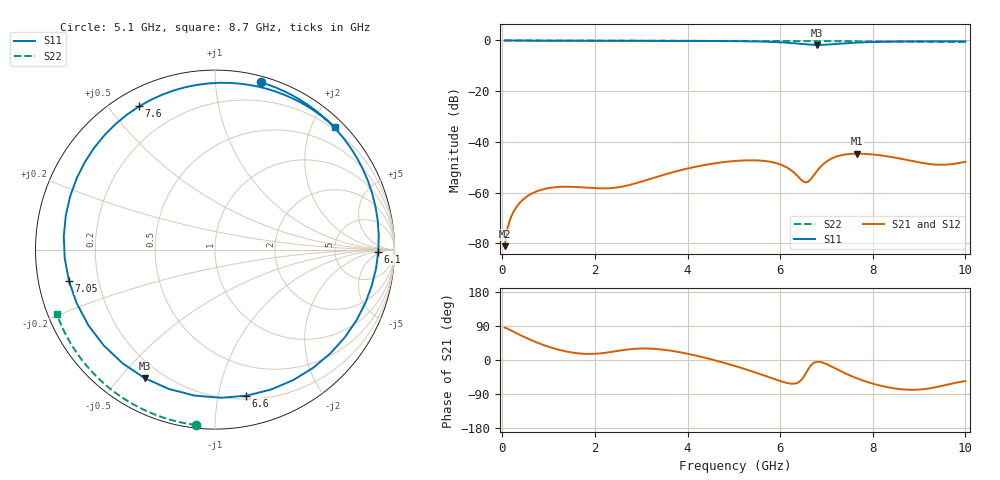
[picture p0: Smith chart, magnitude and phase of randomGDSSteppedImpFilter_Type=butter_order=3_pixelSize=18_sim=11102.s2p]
! freq	dB(S11)	phase(S11)	dB(S12)	phase(S12)
!  dB(S21)	phase(S21)	dB(S22)	phase(S22)
!S-par simulation data
#  GHz  S  DB  R 50
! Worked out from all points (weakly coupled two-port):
!   200 points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, 50 MHz to 10 GHz, reference 50 ohm
!   highest |S21| = -44.63 dB at 7.65 GHz (marker M1); lowest = -81.1 dB at 50 MHz (marker M2)
!   lowest |S11| = -1.8 dB at 6.8 GHz (marker M3), VSWR 9.89, Z = 6.81 - j29.2 ohm
!   |S11| at or under -10 dB: nowhere
!   |S22| runs from -0.6 to 0.0 dB; largest |S21 - S12| = 0
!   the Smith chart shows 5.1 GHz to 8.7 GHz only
!   S11 on the Smith chart (normalised r, x): 5.1 GHz: 0.05, +1.31; 6.1 GHz: 21, -3; 6.6 GHz: 0.23, -1.21; 7.05 GHz: 0.09, -0.11; 7.6 GHz: 0.07, +0.60; 8.7 GHz: 0.15, +2.37
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0.05  -0.00 -5.5  -81.09 85.5  -81.09 85.5  -0.00 -1.0
0.15  -0.02 -16.3  -71.57 80.4  -71.57 80.4  -0.00 -3.0
0.3  -0.05 -32.2  -65.81 71.0  -65.81 71.0  -0.01 -6.0
0.8  -0.09 -79.4  -59.10 43.6  -59.10 43.6  -0.02 -16.0
1.75  -0.12 -142.7  -57.93 16.5  -57.93 16.5  -0.04 -34.7
2.5  -0.13 -177.7  -57.89 24.2  -57.89 24.2  -0.06 -49.1
3.4  -0.15 146.7  -53.42 28.3  -53.42 28.3  -0.09 -65.9
4.3  -0.20 111.4  -49.33 8.2  -49.33 8.2  -0.12 -82.1
5.05  -0.29 77.2  -47.47 -16.7  -47.47 -16.7  -0.15 -95.3
5.1  -0.30 74.6  -47.41 -18.6  -47.41 -18.6  -0.15 -96.1
5.65  -0.47 40.6  -47.48 -40.6  -47.48 -40.6  -0.18 -105.6
6.1  -0.82 -0.7  -49.62 -59.1  -49.62 -59.1  -0.20 -113.2
6.35  -1.18 -34.1  -52.96 -61.4  -52.96 -61.4  -0.22 -117.4
6.6  -1.59 -77.9  -55.72 -25.5  -55.72 -25.5  -0.24 -121.6
6.7  -1.71 -98.0  -53.77 -9.7  -53.77 -9.7  -0.24 -123.3
6.8  -1.76 -118.7  -51.34 -4.6  -51.34 -4.6  -0.25 -125.0
7.05  -1.60 -167.9  -47.15 -13.6  -47.15 -13.6  -0.27 -129.2
7.6  -0.89 117.9  -44.65 -45.6  -44.65 -45.6  -0.32 -138.6
7.65  -0.84 113.1  -44.63 -48.0  -44.63 -48.0  -0.32 -139.4
8.35  -0.48 63.6  -45.78 -72.5  -45.78 -72.5  -0.39 -151.5
8.7  -0.40 45.6  -46.96 -78.0  -46.96 -78.0  -0.43 -157.7
10  -0.35 -6.3  -47.83 -55.7  -47.83 -55.7  -0.61 177.8
